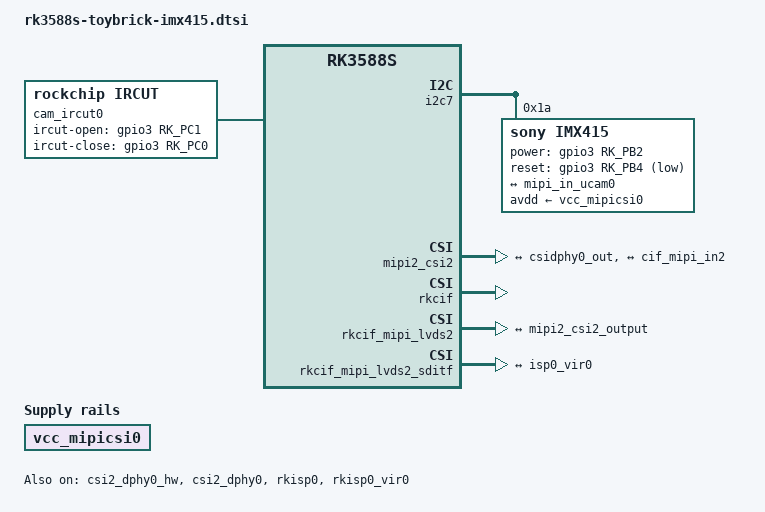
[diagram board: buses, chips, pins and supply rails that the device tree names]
// SPDX-License-Identifier: (GPL-2.0+ OR MIT)
/*
 * Copyright (c) 2021 Rockchip Electronics Co., Ltd.
 *
 */
/ {
	vcc_mipicsi0: vcc-mipicsi0-regulator {
		compatible = "regulator-fixed";
		regulator-name = "vcc_mipicsi0";
		enable-active-high;
	};

	cam_ircut0: cam_ircut {
		status = "okay";
		compatible = "rockchip,ircut";
		ircut-open-gpios = <&gpio3 RK_PC1 GPIO_ACTIVE_HIGH>;
		ircut-close-gpios  = <&gpio3 RK_PC0 GPIO_ACTIVE_HIGH>;
		rockchip,camera-module-index = <0>;
		rockchip,camera-module-facing = "back";
	};
};

&csi2_dphy0_hw {
	status = "okay";
};

&csi2_dphy0 {
	status = "okay";
	ports {
		#address-cells = <1>;
		#size-cells = <0>;
		port@0 {
			reg = <0>;
			#address-cells = <1>;
			#size-cells = <0>;
			mipi_in_ucam0: endpoint@1 {
				reg = <1>;
				remote-endpoint = <&ucam_out0>;
				data-lanes = <1 2 3 4>;
			};
		};
		port@1 {
			reg = <1>;
			#address-cells = <1>;
			#size-cells = <0>;
			csidphy0_out: endpoint@0 {
				reg = <0>;
				remote-endpoint = <&mipi2_csi2_input>;
			};
		};
	};
};

&i2c7 {
	status = "okay";
	pinctrl-names = "default";
	pinctrl-0 = <&i2c7m2_xfer>;
	imx415: imx415@1a {
		compatible = "sony,imx415";
		reg = <0x1a>;
		clocks = <&cru CLK_MIPI_CAMARAOUT_M3>;
		clock-names = "xvclk";
		pinctrl-names = "default";
		pinctrl-0 = <&mipim1_camera3_clk>;
		power-domains = <&power RK3588_PD_VI>;
		avdd-supply = <&vcc_mipicsi0>;
		power-gpios = <&gpio3 RK_PB2 GPIO_ACTIVE_HIGH>;
		reset-gpios = <&gpio3 RK_PB4 GPIO_ACTIVE_LOW>;
		rockchip,camera-module-index = <0>;
		rockchip,camera-module-facing = "back";
		rockchip,camera-module-name = "CMK-OT2022-PX1";
		rockchip,camera-module-lens-name = "IR0147-50IRC-8M-F20";
		//lens-focus = <&cam_ircut0>;
		port {
			ucam_out0: endpoint {
				remote-endpoint = <&mipi_in_ucam0>;
				data-lanes = <1 2 3 4>;
			};
		};
	};
};

&mipi2_csi2 {
	status = "okay";
	ports {
		#address-cells = <1>;
		#size-cells = <0>;
		port@0 {
			reg = <0>;
			#address-cells = <1>;
			#size-cells = <0>;
			mipi2_csi2_input: endpoint@1 {
				reg = <1>;
				remote-endpoint = <&csidphy0_out>;
			};
		};
		port@1 {
			reg = <1>;
			#address-cells = <1>;
			#size-cells = <0>;
			mipi2_csi2_output: endpoint@0 {
				reg = <0>;
				remote-endpoint = <&cif_mipi_in2>;
			};
		};
	};
};

&rkcif {
	status = "okay";
};

&rkcif_mipi_lvds2 {
	status = "okay";
	port {
		cif_mipi_in2: endpoint {
			remote-endpoint = <&mipi2_csi2_output>;
		};
	};
};

&rkcif_mipi_lvds2_sditf {
	status = "okay";
	port {
		mipi_lvds_sditf: endpoint {
			remote-endpoint = <&isp0_vir0>;
		};
	};
};

&rkcif_mmu {
	status = "okay";
};

&rkisp0 {
	status = "okay";
};

&isp0_mmu {
	status = "okay";
};

&rkisp0_vir0 {
	status = "okay";
	port {
		#address-cells = <1>;
		#size-cells = <0>;
		isp0_vir0: endpoint@0 {
			reg = <0>;
			remote-endpoint = <&mipi_lvds_sditf>;
		};
	};
};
